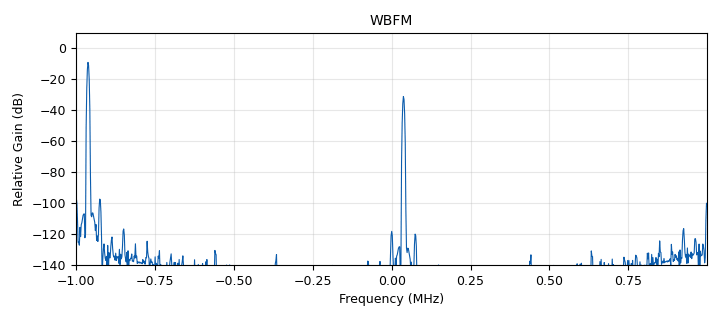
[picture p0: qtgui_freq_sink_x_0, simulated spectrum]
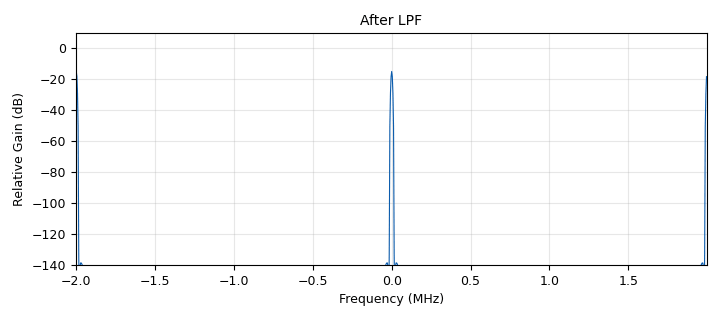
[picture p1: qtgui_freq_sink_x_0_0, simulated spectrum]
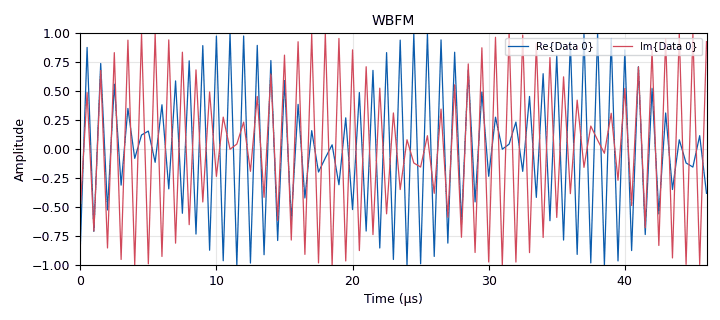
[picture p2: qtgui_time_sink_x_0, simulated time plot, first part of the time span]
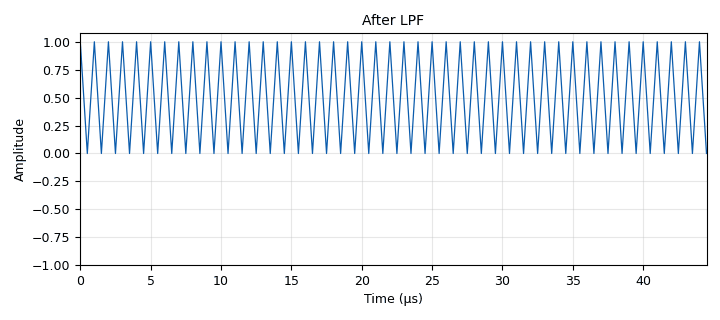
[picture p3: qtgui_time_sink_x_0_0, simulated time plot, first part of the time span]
options:
  parameters:
    author: Sneji
    generate_options: qt_gui
    id: USRP_as_transmitter
    output_language: python
    title: USRP as transmitter
  states: {}

blocks:
- name: frequency
  id: variable
  parameters:
    value: samp_rate/3
  states: {state: disabled}
- name: frequency
  id: variable_qtgui_range
  parameters:
    start: '-samp_rate/2'
    step: '100'
    stop: samp_rate/2
    value: '0'
  states: {state: disabled}
- name: frequency
  id: variable_qtgui_chooser
  parameters:
    label0: 'Frequency: 0'
    label1: 'Frequency: 15kHz'
    label2: 'Frequency: 10kHz'
    num_opts: '3'
    option0: '0'
    option1: int(15e3)
    option2: int(10e3)
    type: int
    value: int(15e3)
  states: {}
- name: samp_rate
  id: variable
  parameters:
    value: '2000000'
  states: {}
- name: analog_sig_source_x_0
  id: analog_sig_source_x
  parameters:
    amp: '1'
    freq: frequency
    offset: '0'
    phase: '0'
    samp_rate: samp_rate
    type: complex
    waveform: analog.GR_COS_WAVE
  states: {state: disabled}
- name: analog_sig_source_x_0_0
  id: analog_sig_source_x
  parameters:
    amp: '1'
    freq: frequency*2
    offset: '0'
    phase: '0'
    samp_rate: samp_rate
    type: complex
    waveform: analog.GR_COS_WAVE
  states: {state: disabled}
- name: analog_wfm_tx_0
  id: analog_wfm_tx
  parameters:
    audio_rate: samp_rate
    fh: '-1.0'
    max_dev: 75e3
    quad_rate: samp_rate
    tau: '75e-6'
  states: {}
- name: audio_source_0
  id: audio_source
  parameters:
    samp_rate: samp_rate
  states: {state: disabled}
- name: blocks_add_xx_0
  id: blocks_add_xx
  parameters:
    type: complex
  states: {state: disabled}
- name: blocks_complex_to_float_0
  id: blocks_complex_to_float
  parameters: {}
  states: {state: disabled}
- name: blocks_throttle2_0
  id: blocks_throttle2
  parameters:
    samples_per_second: samp_rate
    type: complex
  states: {state: disabled}
- name: blocks_vector_source_x_0
  id: blocks_vector_source_x
  parameters:
    repeat: 'True'
    type: float
    vector: (0, 1)
  states: {}
- name: low_pass_filter_0
  id: low_pass_filter
  parameters:
    cutoff_freq: 20e3
    decim: '1'
    gain: '1'
    samp_rate: samp_rate
    type: fir_filter_ccf
    width: 2e3
    win: window.WIN_HAMMING
  states: {state: disabled}
- name: low_pass_filter_1
  id: low_pass_filter
  parameters:
    cutoff_freq: samp_rate/2
    decim: '1'
    gain: '1'
    samp_rate: samp_rate
    type: fir_filter_fff
    width: samp_rate/6
    win: window.WIN_HAMMING
  states: {}
- name: qtgui_freq_sink_x_0
  id: qtgui_freq_sink_x
  parameters:
    bw: samp_rate
    fc: '0'
    fftsize: '1024'
    name: '"WBFM"'
    type: complex
  states: {}
- name: qtgui_freq_sink_x_0_0
  id: qtgui_freq_sink_x
  parameters:
    bw: 2*samp_rate
    fc: '0'
    fftsize: '1024'
    name: '"After LPF"'
    type: float
  states: {}
- name: qtgui_time_sink_x_0
  id: qtgui_time_sink_x
  parameters:
    name: '"WBFM"'
    size: '1024'
    srate: samp_rate
    type: complex
  states: {}
- name: qtgui_time_sink_x_0_0
  id: qtgui_time_sink_x
  parameters:
    name: '"After LPF"'
    size: '1024'
    srate: samp_rate
    type: float
  states: {}
- name: uhd_usrp_sink_0
  id: uhd_usrp_sink
  parameters:
    ant0: '"TX/RX"'
    center_freq0: 70e6
    gain0: '30'
    samp_rate: samp_rate
    sync: sync
    type: fc32
  states: {}

connections:
- [analog_sig_source_x_0, '0', blocks_add_xx_0, '0']
- [analog_sig_source_x_0_0, '0', blocks_add_xx_0, '1']
- [analog_wfm_tx_0, '0', qtgui_freq_sink_x_0, '0']
- [analog_wfm_tx_0, '0', qtgui_time_sink_x_0, '0']
- [analog_wfm_tx_0, '0', uhd_usrp_sink_0, '0']
- [blocks_add_xx_0, '0', low_pass_filter_0, '0']
- [blocks_complex_to_float_0, '0', analog_wfm_tx_0, '0']
- [blocks_vector_source_x_0, '0', low_pass_filter_1, '0']
- [low_pass_filter_0, '0', blocks_complex_to_float_0, '0']
- [low_pass_filter_0, '0', qtgui_freq_sink_x_0_0, '0']
- [low_pass_filter_0, '0', qtgui_time_sink_x_0_0, '0']
- [low_pass_filter_1, '0', analog_wfm_tx_0, '0']
- [low_pass_filter_1, '0', qtgui_freq_sink_x_0_0, '0']
- [low_pass_filter_1, '0', qtgui_time_sink_x_0_0, '0']

metadata:
  file_format: 1
  grc_version: 3.10.9.2
